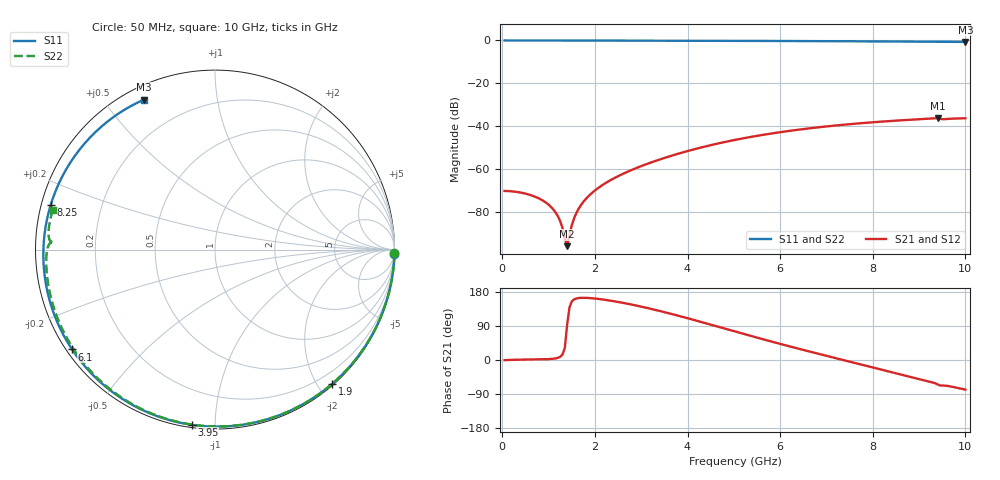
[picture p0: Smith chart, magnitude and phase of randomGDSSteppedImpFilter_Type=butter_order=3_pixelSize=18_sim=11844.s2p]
! freq	dB(S11)	phase(S11)	dB(S12)	phase(S12)
!  dB(S21)	phase(S21)	dB(S22)	phase(S22)
!S-par simulation data
#  GHz  S  DB  R 50
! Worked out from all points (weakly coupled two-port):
!   200 points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, 50 MHz to 10 GHz, reference 50 ohm
!   highest |S21| = -36.25 dB at 9.4 GHz (marker M1); lowest = -96.0 dB at 1.4 GHz (marker M2)
!   lowest |S11| = -0.7 dB at 10 GHz (marker M3), VSWR 25.50, Z = 2.75 + j31.6 ohm
!   |S11| at or under -10 dB: nowhere
!   |S22| runs from -0.9 to 0.0 dB; largest |S21 - S12| = 0
!   S11 on the Smith chart (normalised r, x): 50 MHz: 0, -87; 1.9 GHz: 0.02, -2.20; 3.95 GHz: 0.01, -0.88; 6.1 GHz: 0.02, -0.31; 8.25 GHz: 0.03, +0.13; 10 GHz: 0.05, +0.63
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0.05  -0.00 -1.3  -70.23 -0.5  -70.23 -0.5  -0.00 -1.1
0.6  -0.02 -15.8  -72.09 1.3  -72.09 1.3  -0.01 -13.1
0.9  -0.03 -23.6  -75.06 1.9  -75.06 1.9  -0.02 -19.6
1.15  -0.04 -30.0  -80.25 4.2  -80.25 4.2  -0.03 -24.9
1.4  -0.05 -36.4  -96.01 92.6  -96.01 92.6  -0.04 -30.2
1.6  -0.05 -41.5  -80.49 162.3  -80.49 162.3  -0.04 -34.4
1.75  -0.06 -45.2  -75.35 164.2  -75.35 164.2  -0.05 -37.6
1.9  -0.06 -49.0  -71.87 163.4  -71.87 163.4  -0.05 -40.7
2.15  -0.07 -55.2  -67.66 160.0  -67.66 160.0  -0.06 -45.9
2.5  -0.08 -63.7  -63.34 153.2  -63.34 153.2  -0.07 -53.1
3.4  -0.11 -85.0  -55.55 129.4  -55.55 129.4  -0.09 -71.0
3.95  -0.13 -97.6  -51.92 111.9  -51.92 111.9  -0.11 -81.7
5.05  -0.19 -122.1  -46.30 74.4  -46.30 74.4  -0.16 -102.2
6.1  -0.25 -145.1  -42.51 39.3  -42.51 39.3  -0.22 -121.2
6.7  -0.30 -158.4  -40.84 20.3  -40.84 20.3  -0.26 -131.9
7.5  -0.38 -176.8  -39.07 -4.3  -39.07 -4.3  -0.33 -146.2
8.25  -0.46 164.9  -37.79 -27.4  -37.79 -27.4  -0.40 -159.8
8.35  -0.47 162.3  -37.64 -30.5  -37.64 -30.5  -0.41 -161.7
9.05  -0.56 143.6  -36.72 -51.7  -36.72 -51.7  -0.51 -175.3
9.4  -0.60 133.6  -36.25 -64.4  -36.25 -64.4  -0.81 177.3
9.5  -0.61 130.7  -36.74 -67.3  -36.74 -67.3  -0.80 177.6
10  -0.68 115.3  -36.33 -78.1  -36.33 -78.1  -0.62 166.3
